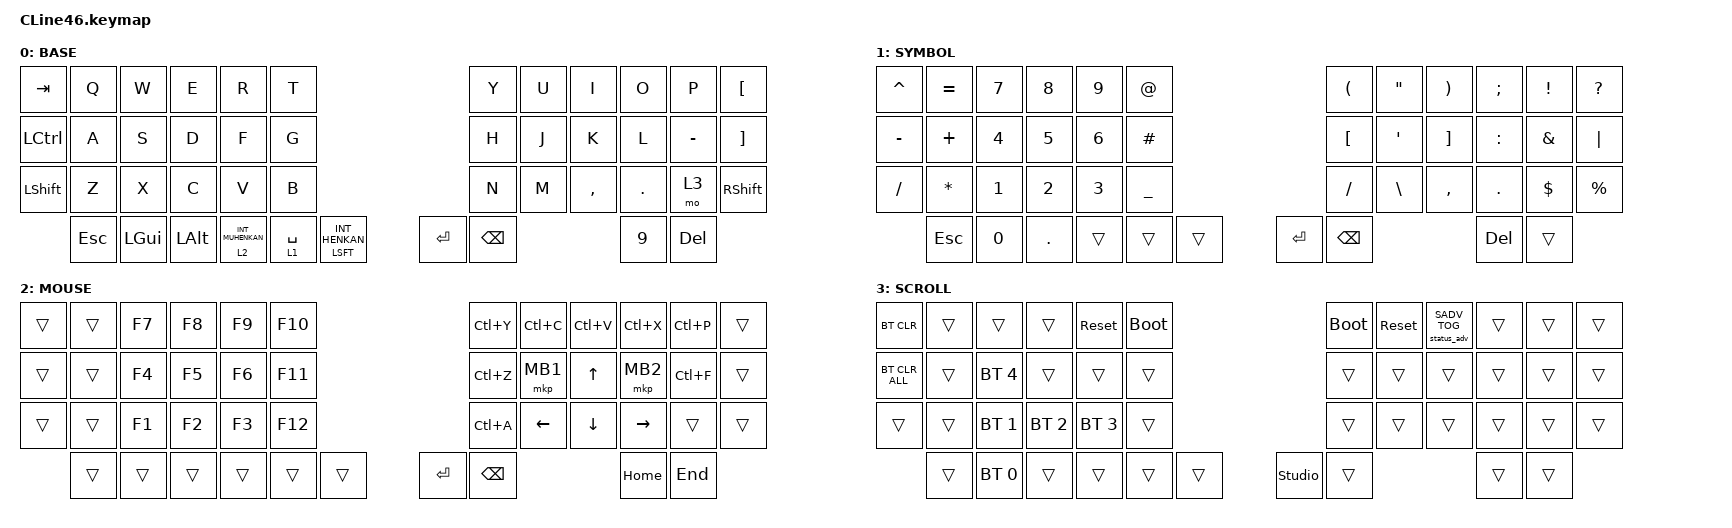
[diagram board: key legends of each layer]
#include <input/processors.dtsi>
#include <dt-bindings/zmk/input_transform.h>
#include <zephyr/dt-bindings/input/input-event-codes.h>
#include <behaviors.dtsi>
#include <dt-bindings/zmk/bt.h>
#include <dt-bindings/zmk/keys.h>
#include <dt-bindings/zmk/pointing.h>

// DYA Studio から編集できるマクロ(&rmacro <slot>)の実体を定義する。
// キーへの割り当てはキーマップに書かなくてよく、DYA Studio の
// キーマップエディタから Runtime Macro を選んでスロット番号を指定できる
#include <behaviors/runtime_macro.dtsi>

// 既定レイヤーを変えるビヘイビア(&df)の実体。設定自体は DYA Studio の
// Connection タブからできるので、キーに割り当てるかは好み
// (&df DF_INC = 候補を巡回 / &df DF_SEL N = レイヤー N を既定にする)
#include <behaviors/default_layer.dtsi>

// キーボードの状態を流す BLE 広告(docs/status-advertisement.md)を
// キーで止められるようにするビヘイビア。M5Stack 側を使わないときは
// 出しておく意味が無いので、SCROLL レイヤーに &status_adv SADV_TOG を
// 置いてある。SADV_ON / SADV_OFF で決め打ちもできる
#include <behaviors/status_adv.dtsi>
#include <dt-bindings/cline46/status_adv.h>

&mt {
    flavor = "balanced";
    quick-tap-ms = <0>;
};

&lt {
    flavor = "balanced";
    quick-tap-ms = <175>;
};

/ {
    // コンボは zmk,combos ではなく runtime-combo モジュールで定義する。
    // zmk,combos はコンパイル時に固定されて DYA Studio から編集できないため。
    // ここに書いた値は「工場出荷値」で、DYA Studio で上書きすると
    // そちらが優先され、Reset to Default で戻せる
    runtime_combo_defaults {
        compatible = "cormoran,runtime-combo-defaults";

        tab {
            slot = <0>;
            bindings = <&kp TAB>;
            key-positions = <1 2>;
            require-prior-idle-ms = <125>;
            display-name = "Tab";
        };

        shift_tab {
            slot = <1>;
            bindings = <&kp LS(TAB)>;
            key-positions = <2 3>;
            require-prior-idle-ms = <125>;
            display-name = "Shift Tab";
        };
    };

    macros {
        to_layer_0: to_layer_0 {
            compatible = "zmk,behavior-macro-one-param";
            #binding-cells = <1>;
            bindings = <&to 0 &macro_param_1to1 &kp MACRO_PLACEHOLDER>;
            label = "TO_LAYER_0";
        };
    };

    behaviors {
        lt_to_layer_0: lt_to_layer_0 {
            compatible = "zmk,behavior-hold-tap";
            label = "LAYER_TAP_TO_0";
            bindings = <&mo>, <&to_layer_0>;

            #binding-cells = <2>;
            tapping-term-ms = <200>;
        };
    };

    keymap {
        compatible = "zmk,keymap";

        default_layer {
            display-name = "BASE";
            bindings = <
&kp TAB      &kp Q     &kp W      &kp E     &kp R                &kp T                                            &kp Y     &kp U   &kp I       &kp O          &kp P       &kp LEFT_BRACKET
&kp LCTRL    &kp A     &kp S      &kp D     &kp F                &kp G                                            &kp H     &kp J   &kp K       &kp L          &kp MINUS   &kp RIGHT_BRACKET
&kp LSHIFT   &kp Z     &kp X      &kp C     &kp V                &kp B                                            &kp N     &kp M   &kp COMMA   &kp DOT        &mo 3       &kp RSHIFT
             &kp ESC   &kp LGUI   &kp LALT  &lt 2 INT_MUHENKAN   &lt 1 SPACE   &mt LSFT INT_HENKAN      &kp RET   &kp BSPC                      &kp NUMBER_9   &kp DEL  
            >;
        };

        
        layer_1 {
            display-name = "SYMBOL";
            bindings = <
&kp CARET   &kp EQUAL      &kp NUMBER_7   &kp NUMBER_8   &kp NUMBER_9   &kp AT_SIGN                            &kp LEFT_PARENTHESIS    &kp DOUBLE_QUOTES   &kp RIGHT_PARENTHESIS   &kp SEMI    &kp EXCLAMATION   &kp QMARK
&kp MINUS   &kp PLUS       &kp NUMBER_4   &kp NUMBER_5   &kp NUMBER_6   &kp HASH                               &kp LEFT_BRACKET        &kp SINGLE_QUOTE    &kp RIGHT_BRACKET       &kp COLON   &kp AMPERSAND     &kp PIPE
&kp SLASH   &kp ASTERISK   &kp NUMBER_1   &kp NUMBER_2   &kp NUMBER_3   &kp UNDERSCORE                         &kp SLASH               &kp BACKSLASH       &kp COMMA               &kp DOT     &kp DOLLAR        &kp PERCENT
            &kp ESC        &kp NUMBER_0   &kp DOT        &trans         &trans           &trans      &kp RET   &kp BSPC                                                            &kp DEL     &trans 
            >;
        };


        MOUSE {
            bindings = <
&trans   &trans   &kp F7   &kp F8   &kp F9   &kp F10                         &kp LC(Y)   &kp LC(C)        &kp LC(V)        &kp LC(X)         &kp LC(P)   &trans
&trans   &trans   &kp F4   &kp F5   &kp F6   &kp F11                         &kp LC(Z)   &mkp MB1         &kp UP_ARROW     &mkp MB2          &kp LC(F)   &trans
&trans   &trans   &kp F1   &kp F2   &kp F3   &kp F12                         &kp LC(A)   &kp LEFT_ARROW   &kp DOWN_ARROW   &kp RIGHT_ARROW   &trans      &trans
         &trans   &trans   &trans   &trans   &trans    &trans      &kp RET   &kp BSPC                                      &kp HOME          &kp END
            >;
        };


        SCROLL {
            bindings = <
&bt BT_CLR       &trans   &trans         &trans         &sys_reset     &bootloader                                 &bootloader   &sys_reset   &status_adv SADV_TOG   &trans   &trans   &trans
&bt BT_CLR_ALL   &trans   &bt BT_SEL 4   &trans         &trans         &trans                                      &trans        &trans       &trans   &trans   &trans   &trans
&trans           &trans   &bt BT_SEL 1   &bt BT_SEL 2   &bt BT_SEL 3   &trans                                      &trans        &trans       &trans   &trans   &trans   &trans
                 &trans   &bt BT_SEL 0   &trans         &trans         &trans         &trans      &studio_unlock   &trans                     &trans   &trans  
            >;
        };


        layer_4 {
            status = "reserved";
        };


        layer_5 {
            status = "reserved";
        };


        layer_6 {
            status = "reserved";
        };
    };
};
